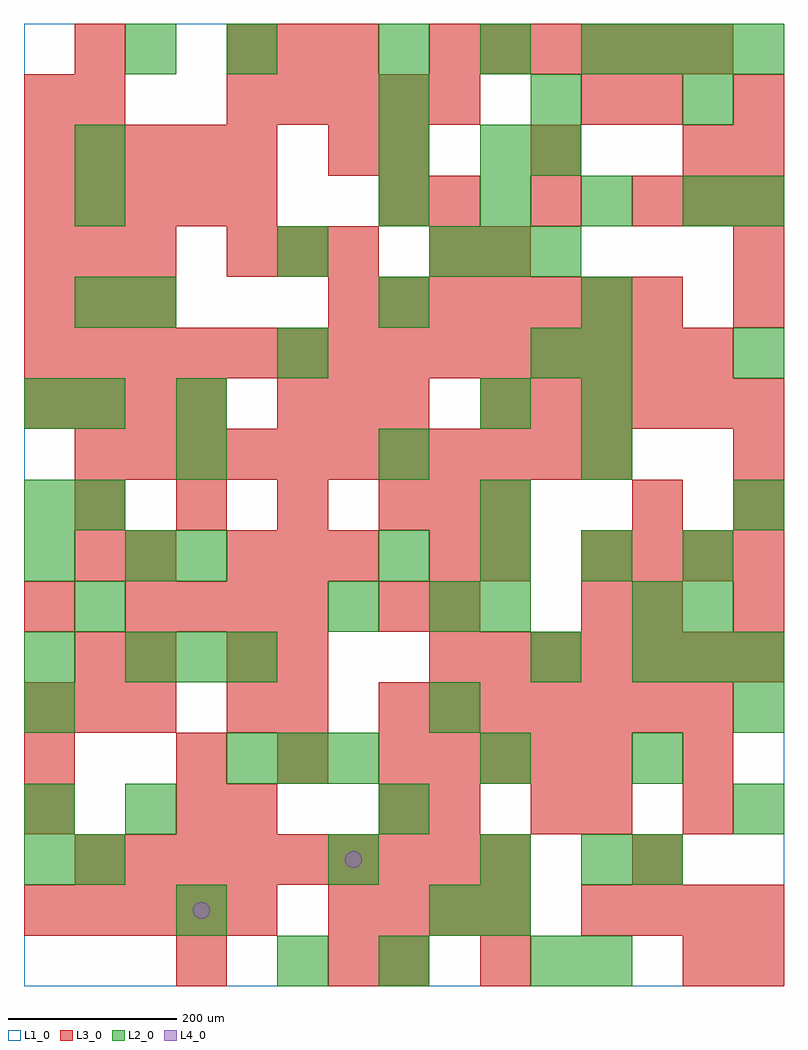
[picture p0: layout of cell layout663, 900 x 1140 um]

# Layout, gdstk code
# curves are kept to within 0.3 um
import gdstk
lib = gdstk.Library(unit=1e-6, precision=1e-09)
def R(c, l, rs):  # rectangles x0, y0, x1, y1
    for r in rs: c.add(gdstk.rectangle(r[:2], r[2:], *l))
def A(c, l, x, y, w, h, nx, ny, dx, dy):  # array of equal rectangles
    R(c, l, [(x+i*dx, y+j*dy, x+i*dx+w, y+j*dy+h) for i in range(nx) for j in range(ny)])
def P(c, l, *ps):  # polygons
    for p in ps: c.add(gdstk.Polygon(p, *l))
L1_0 = (1, 0)
L2_0 = (2, 0)
L3_0 = (3, 0)
L4_0 = (4, 0)

layout663 = lib.new_cell('layout663')
R(layout663, L1_0, [(0,0,900,1140)])
A(layout663, L2_0, 600, 0, 60, 60, 1, 3, 0, 360)
A(layout663, L2_0, 120, 180, 60, 60, 1, 4, 0, 300)
A(layout663, L2_0, 240, 240, 60, 60, 3, 1, 60, 0)
A(layout663, L2_0, 120, 360, 60, 60, 3, 1, 60, 0)
A(layout663, L2_0, 720, 360, 60, 60, 3, 2, 60, 720)
A(layout663, L2_0, 60, 420, 60, 60, 1, 5, 0, 120)
A(layout663, L2_0, 540, 420, 60, 60, 1, 3, 0, 120)
A(layout663, L2_0, 420, 480, 60, 60, 4, 2, 120, 420)
A(layout663, L2_0, 840, 540, 60, 60, 1, 3, 0, 180)
A(layout663, L2_0, 180, 600, 60, 60, 3, 1, 240, 0)
A(layout663, L2_0, 660, 660, 60, 60, 1, 3, 0, 60)
A(layout663, L2_0, 480, 840, 60, 60, 3, 1, 60, 0)
A(layout663, L2_0, 420, 1020, 60, 60, 3, 1, 180, 0)
A(layout663, L2_0, 420, 1080, 60, 60, 3, 1, 120, 0)
R(layout663, L2_0, [(300,0,360,60), (420,0,480,60), (660,0,720,60), (180,60,240,120), (480,60,540,120), (540,60,600,120), (0,120,60,180), (60,120,120,180), (360,120,420,180), (540,120,600,180), (660,120,720,180), (720,120,780,180), (0,180,60,240), (420,180,480,240), (840,180,900,240), (540,240,600,300), (720,240,780,300), (0,300,60,360), (480,300,540,360), (840,300,900,360), (0,360,60,420), (360,420,420,480), (480,420,540,480), (720,420,780,480), (780,420,840,480), (0,480,60,540), (180,480,240,540), (0,540,60,600), (0,660,60,720), (180,660,240,720), (300,720,360,780), (420,780,480,840), (300,840,360,900), (60,960,120,1020), (420,960,480,1020), (540,960,600,1020), (600,960,660,1020), (240,1080,300,1140)])
A(layout663, L3_0, 0, 60, 60, 60, 5, 2, 60, 840)
A(layout663, L3_0, 360, 60, 60, 60, 4, 1, 60, 0)
A(layout663, L3_0, 660, 60, 60, 60, 4, 2, 60, 420)
A(layout663, L3_0, 60, 120, 60, 60, 9, 1, 60, 0)
A(layout663, L3_0, 180, 240, 60, 60, 3, 1, 120, 0)
A(layout663, L3_0, 480, 240, 60, 60, 4, 1, 60, 0)
A(layout663, L3_0, 0, 300, 60, 60, 3, 2, 60, 480)
A(layout663, L3_0, 420, 300, 60, 60, 7, 1, 60, 0)
A(layout663, L3_0, 480, 360, 60, 60, 7, 1, 60, 0)
A(layout663, L3_0, 120, 420, 60, 60, 4, 1, 60, 0)
A(layout663, L3_0, 480, 420, 60, 60, 1, 3, 0, 60)
A(layout663, L3_0, 240, 480, 60, 60, 3, 2, 60, 360)
A(layout663, L3_0, 60, 540, 60, 60, 4, 1, 120, 0)
A(layout663, L3_0, 60, 600, 60, 60, 11, 1, 60, 0)
A(layout663, L3_0, 0, 660, 60, 60, 4, 1, 60, 0)
A(layout663, L3_0, 300, 660, 60, 60, 3, 1, 60, 0)
A(layout663, L3_0, 540, 660, 60, 60, 6, 1, 60, 0)
A(layout663, L3_0, 0, 720, 60, 60, 14, 1, 60, 0)
A(layout663, L3_0, 360, 780, 60, 60, 7, 1, 60, 0)
A(layout663, L3_0, 840, 780, 60, 60, 1, 5, 0, 60)
A(layout663, L3_0, 0, 840, 60, 60, 3, 1, 60, 0)
A(layout663, L3_0, 480, 900, 60, 60, 3, 1, 120, 0)
A(layout663, L3_0, 0, 960, 60, 60, 5, 1, 60, 0)
A(layout663, L3_0, 420, 960, 60, 60, 3, 1, 180, 0)
A(layout663, L3_0, 240, 1020, 60, 60, 5, 1, 60, 0)
A(layout663, L3_0, 240, 1080, 60, 60, 3, 1, 60, 0)
A(layout663, L3_0, 480, 1080, 60, 60, 6, 1, 60, 0)
R(layout663, L3_0, [(180,0,240,60), (360,0,420,60), (420,0,480,60), (540,0,600,60), (780,0,840,60), (840,0,900,60), (720,120,780,180), (0,180,60,240), (180,180,240,240), (240,180,300,240), (420,180,480,240), (480,180,540,240), (600,180,660,240), (660,180,720,240), (780,180,840,240), (0,240,60,300), (780,240,840,300), (240,300,300,360), (300,300,360,360), (60,360,120,420), (120,360,180,420), (240,360,300,420), (300,360,360,420), (0,420,60,480), (420,420,480,480), (660,420,720,480), (720,420,780,480), (840,420,900,480), (60,480,120,540), (120,480,180,540), (540,480,600,540), (540,540,600,600), (720,540,780,600), (840,540,900,600), (840,600,900,660), (480,840,540,900), (540,840,600,900), (420,900,480,960), (780,900,840,960), (360,960,420,1020), (0,1020,60,1080), (60,1020,120,1080), (660,1020,720,1080), (720,1020,780,1080), (60,1080,120,1140)])
P(layout663, L4_0, [(220,90),(219.239,93.827),(217.071,97.071),(213.827,99.239),(210,100),(206.173,99.239),(202.929,97.071),(200.761,93.827),(200,90),(200.761,86.173),(202.929,82.929),(206.173,80.761),(210,80),(213.827,80.761),(217.071,82.929),(219.239,86.173)],
  [(400,150),(399.239,153.827),(397.071,157.071),(393.827,159.239),(390,160),(386.173,159.239),(382.929,157.071),(380.761,153.827),(380,150),(380.761,146.173),(382.929,142.929),(386.173,140.761),(390,140),(393.827,140.761),(397.071,142.929),(399.239,146.173)])

lib.write_gds('layout663.gds')
